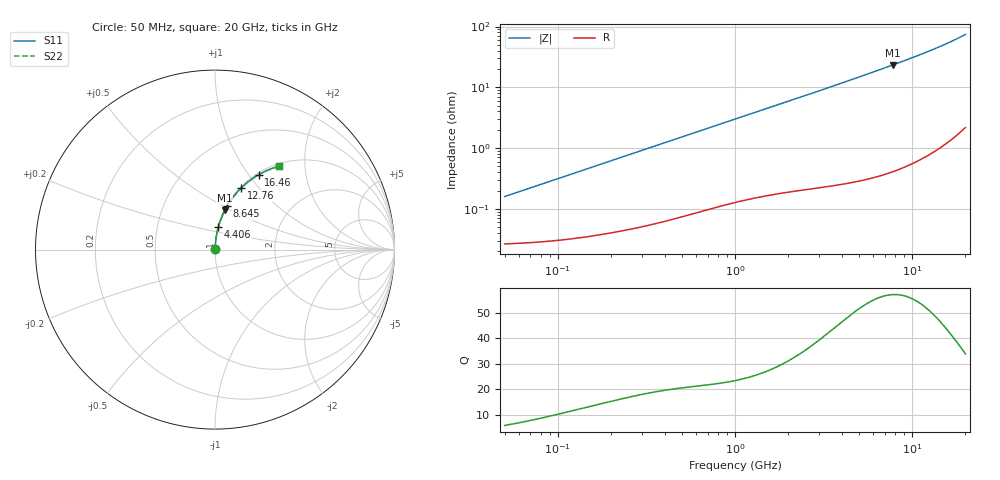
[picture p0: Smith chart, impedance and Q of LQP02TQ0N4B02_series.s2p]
!Murata Part Number: LQP02TQ0N4B02
!These Parameters are Measured in Series Mode Connection
!  o--[Z]--o
!Port1  Port2
!  o-------o
!Freq. Start=50[MHz] Stop=20[GHz], 401[Steps]
# Hz S RI R 50
!Freq.(Hz) S11(Real) S11(Imag) S21(Real) S21(Imag) S12(Real) S12(Imag) S22(Real) S22(Imag)
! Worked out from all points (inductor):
!   401 points, 50 MHz to 20 GHz, reference 50 ohm
!   read as one part in series: L = 500 pH near 51.52 MHz
!   highest Q = 57.1 at 7.784 GHz (marker M1), where L = 477 pH
!   S11 on the Smith chart (normalised r, x): 50 MHz: 1.00, +0.00; 4.406 GHz: 1.01, +0.26; 8.645 GHz: 1.01, +0.52; 12.76 GHz: 1.02, +0.81; 16.46 GHz: 1.03, +1.12; 20 GHz: 1.04, +1.48
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5e7  0.000267 0.00157  0.9997 -0.00157  0.9997 -0.00157  0.000267 0.00157
5.152053e7  0.000268 0.00162  0.9997 -0.00162  0.9997 -0.00162  0.000268 0.00162
1.364002e8  0.000356 0.00425  0.9996 -0.00425  0.9996 -0.00425  0.000356 0.00425
3.721004e8  0.000718 0.0114  0.9993 -0.0114  0.9993 -0.0114  0.000718 0.0114
6.380365e8  0.00127 0.0192  0.9987 -0.0192  0.9987 -0.0192  0.00127 0.0192
1e9  0.00216 0.0297  0.9978 -0.0297  0.9978 -0.0297  0.00216 0.0297
1.714689e9  0.00428 0.0502  0.9957 -0.0502  0.9957 -0.0502  0.00428 0.0502
2.728004e9  0.00843 0.079  0.9916 -0.079  0.9916 -0.079  0.00843 0.079
3.519108e9  0.0128 0.1014  0.9872 -0.1014  0.9872 -0.1014  0.0128 0.1014
4.405649e9  0.0189 0.1264  0.9811 -0.1264  0.9811 -0.1264  0.0189 0.1264
5.769027e9  0.031 0.1645  0.969 -0.1645  0.969 -0.1645  0.031 0.1645
7.442007e9  0.0504 0.2102  0.9496 -0.2102  0.9496 -0.2102  0.0504 0.2102
7.784049e9  0.055 0.2194  0.945 -0.2194  0.945 -0.2194  0.055 0.2194
8.644534e9  0.0675 0.2422  0.9325 -0.2422  0.9325 -0.2422  0.0675 0.2422
1.066139e10  0.102 0.2936  0.898 -0.2936  0.898 -0.2936  0.102 0.2936
1.166392e10  0.122 0.3179  0.878 -0.3179  0.878 -0.3179  0.122 0.3179
1.276073e10  0.146 0.3433  0.854 -0.3433  0.854 -0.3433  0.146 0.3433
1.460232e10  0.1913 0.3826  0.8087 -0.3826  0.8087 -0.3826  0.1913 0.3826
1.646126e10  0.2432 0.4172  0.7568 -0.4172  0.7568 -0.4172  0.2432 0.4172
1.800918e10  0.2909 0.4413  0.7091 -0.4413  0.7091 -0.4413  0.2909 0.4413
1.940974e10  0.3374 0.4588  0.6626 -0.4588  0.6626 -0.4588  0.3374 0.4588
2e10  0.3577 0.4648  0.6423 -0.4648  0.6423 -0.4648  0.3577 0.4648
